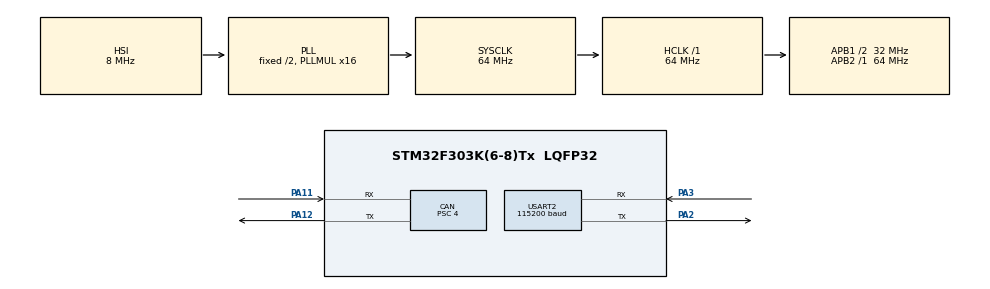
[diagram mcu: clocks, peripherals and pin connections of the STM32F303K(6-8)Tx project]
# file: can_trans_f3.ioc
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CAN.BS1=CAN_BS1_6TQ
CAN.BS2=CAN_BS2_1TQ
CAN.CalculateBaudRate=1000000
CAN.CalculateTimeBit=1000
CAN.CalculateTimeQuantum=125.0
CAN.Prescaler=4
CAN.TXFP=ENABLE
Mcu.Family=STM32F3
Mcu.Name=STM32F303K(6-8)Tx
Mcu.Package=LQFP32
NVIC.CAN_RX0_IRQn=true\:0\:0\:false\:false\:true\:true\:true\:true
NVIC.CAN_RX1_IRQn=true\:0\:0\:false\:false\:true\:true\:true\:true
NVIC.CAN_TX_IRQn=true\:0\:0\:false\:false\:true\:true\:true\:true
NVIC.PriorityGroup=NVIC_PRIORITYGROUP_4
PA11.Mode=CAN_Activate
PA11.Signal=CAN_RX
PA12.Mode=CAN_Activate
PA12.Signal=CAN_TX
PA2.Mode=Asynchronous
PA2.Signal=USART2_TX
PA3.Mode=Asynchronous
PA3.Signal=USART2_RX
ProjectManager.HeapSize=0x200
ProjectManager.StackSize=0x400
ProjectManager.TargetToolchain=STM32CubeIDE
RCC.AHBFreq_Value=64000000
RCC.APB1CLKDivider=RCC_HCLK_DIV2
RCC.APB1Freq_Value=32000000
RCC.APB1TimFreq_Value=64000000
RCC.APB2Freq_Value=64000000
RCC.APB2TimFreq_Value=64000000
RCC.CortexFreq_Value=64000000
RCC.HCLKFreq_Value=64000000
RCC.HSE_VALUE=8000000
RCC.HSI_VALUE=8000000
RCC.PLLMUL=RCC_PLL_MUL16
RCC.SYSCLKFreq_VALUE=64000000
RCC.SYSCLKSourceVirtual=RCC_SYSCLKSOURCE_PLLCLK
USART2.BaudRate=115200
USART2.VirtualMode-Asynchronous=VM_ASYNC
board=custom

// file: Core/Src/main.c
/* USER CODE BEGIN Header */
/**
  ******************************************************************************
  * @file           : main.c
  * @brief          : Main program body
  ******************************************************************************
  * @attention
  *
  * Copyright (c) 2024 STMicroelectronics.
  * All rights reserved.
  *
  * This software is licensed under terms that can be found in the LICENSE file
  * in the root directory of this software component.
  * If no LICENSE file comes with this software, it is provided AS-IS.
  *
  ******************************************************************************
  */
/* USER CODE END Header */
#include "main.h"

/* USER CODE BEGIN Includes */
#include "stdio.h"
/* USER CODE END Includes */

CAN_HandleTypeDef hcan;

UART_HandleTypeDef huart2;

void SystemClock_Config(void);
static void MX_GPIO_Init(void);
static void MX_CAN_Init(void);
static void MX_USART2_UART_Init(void);

/* USER CODE BEGIN 0 */
#ifdef __GNUC__
#define PUTCHAR_PROTOTYPE int __io_putchar(uint8_t ch)
#else
#define PUTCHAR_PROTOTYPE int fputc(int ch, FILE *f)
#endif /* __GNUC__ */

PUTCHAR_PROTOTYPE {
    HAL_UART_Transmit(&huart2, &ch, 1, 500);
    return ch;
}
/* USER CODE END 0 */

int main(void)
{

  /* MCU Configuration--------------------------------------------------------*/

  /* Reset of all peripherals, Initializes the Flash interface and the Systick. */
  HAL_Init();

  /* Configure the system clock */
  SystemClock_Config();

  /* Initialize all configured peripherals */
  MX_GPIO_Init();
  MX_CAN_Init();
  MX_USART2_UART_Init();
  /* USER CODE BEGIN 2 */
  CAN_FilterTypeDef filter;
      filter.FilterIdHigh         = 0;                        // フィルターID(上位16ビット)
      filter.FilterIdLow          = 0;                        // フィルターID(下位16ビット)
      filter.FilterMaskIdHigh     = 0;                        // フィルターマスク(上位16ビット)
      filter.FilterMaskIdLow      = 0;                        // フィルターマスク(下位16ビット)
      filter.FilterScale          = CAN_FILTERSCALE_32BIT;    // フィルタースケール
      filter.FilterFIFOAssignment = CAN_FILTER_FIFO0;         // フィルターに割り当てるFIFO
      filter.FilterBank           = 0;                        // フィルターバンクNo
      filter.FilterMode           = CAN_FILTERMODE_IDMASK;    // フィルターモード
      filter.SlaveStartFilterBank = 14;                       // スレーブCANの開始フィルターバンクNo
      filter.FilterActivation     = ENABLE;                   // フィルター無効／有効
      HAL_CAN_ConfigFilter(&hcan, &filter);

  if (HAL_CAN_ConfigFilter(&hcan, &filter) != HAL_OK)
	  {
		  /* Filter configuration Error */
	  printf("Filter Config Error\r\n");
		  Error_Handler();
	  }

  if (HAL_CAN_Start(&hcan) != HAL_OK)
      {
          /* Start Error */
          printf("Start Error\r\n");
          Error_Handler();
      }

  printf("hello from trasmitter\r\n");
  /* USER CODE END 2 */

  /* Infinite loop */
  while (1)
  {
	  CAN_TxHeaderTypeDef TxHeader;
	  uint32_t TxMailbox;
	  uint8_t TxData[8];
	  if(0 < HAL_CAN_GetTxMailboxesFreeLevel(&hcan)){
	      TxHeader.StdId = 0x555;                 // CAN ID
	      TxHeader.RTR = CAN_RTR_DATA;            // フレームタイプはデータフレーム
	      TxHeader.IDE = CAN_ID_STD;              // 標準ID(11ﾋﾞｯﾄ)
	      TxHeader.DLC = 8;                       // データ長は8バイトに
	      TxHeader.TransmitGlobalTime = DISABLE;  // ???
	      TxData[0] = 0x11;
	      TxData[1] = 0x22;
	      TxData[2] = 0x33;
	      TxData[3] = 0x44;
	      TxData[4] = 0x55;
	      TxData[5] = 0x66;
	      TxData[6] = 0x77;
	      TxData[7] = 0x88;

	      if (HAL_CAN_AddTxMessage(&hcan, &TxHeader, TxData, &TxMailbox) != HAL_OK)
	            {
	                /* Start Error */
	                printf("Error, fail to send message\r\n");
	                Error_Handler();
	            }

	      printf("send can message\r\n");
	  }

	  HAL_Delay(1000);
  }
}

void SystemClock_Config(void)
{
  RCC_OscInitTypeDef RCC_OscInitStruct = {0};
  RCC_ClkInitTypeDef RCC_ClkInitStruct = {0};

  /** Initializes the RCC Oscillators according to the specified parameters
  * in the RCC_OscInitTypeDef structure.
  */
  RCC_OscInitStruct.OscillatorType = RCC_OSCILLATORTYPE_HSI;
  RCC_OscInitStruct.HSIState = RCC_HSI_ON;
  RCC_OscInitStruct.HSICalibrationValue = RCC_HSICALIBRATION_DEFAULT;
  RCC_OscInitStruct.PLL.PLLState = RCC_PLL_ON;
  RCC_OscInitStruct.PLL.PLLSource = RCC_PLLSOURCE_HSI;
  RCC_OscInitStruct.PLL.PLLMUL = RCC_PLL_MUL16;
  if (HAL_RCC_OscConfig(&RCC_OscInitStruct) != HAL_OK)
  {
    Error_Handler();
  }

  /** Initializes the CPU, AHB and APB buses clocks
  */
  RCC_ClkInitStruct.ClockType = RCC_CLOCKTYPE_HCLK|RCC_CLOCKTYPE_SYSCLK
                              |RCC_CLOCKTYPE_PCLK1|RCC_CLOCKTYPE_PCLK2;
  RCC_ClkInitStruct.SYSCLKSource = RCC_SYSCLKSOURCE_PLLCLK;
  RCC_ClkInitStruct.AHBCLKDivider = RCC_SYSCLK_DIV1;
  RCC_ClkInitStruct.APB1CLKDivider = RCC_HCLK_DIV2;
  RCC_ClkInitStruct.APB2CLKDivider = RCC_HCLK_DIV1;

  if (HAL_RCC_ClockConfig(&RCC_ClkInitStruct, FLASH_LATENCY_2) != HAL_OK)
  {
    Error_Handler();
  }
}

static void MX_CAN_Init(void)
{

  hcan.Instance = CAN;
  hcan.Init.Prescaler = 4;
  hcan.Init.Mode = CAN_MODE_NORMAL;
  hcan.Init.SyncJumpWidth = CAN_SJW_1TQ;
  hcan.Init.TimeSeg1 = CAN_BS1_6TQ;
  hcan.Init.TimeSeg2 = CAN_BS2_1TQ;
  hcan.Init.TimeTriggeredMode = DISABLE;
  hcan.Init.AutoBusOff = DISABLE;
  hcan.Init.AutoWakeUp = DISABLE;
  hcan.Init.AutoRetransmission = DISABLE;
  hcan.Init.ReceiveFifoLocked = DISABLE;
  hcan.Init.TransmitFifoPriority = ENABLE;
  if (HAL_CAN_Init(&hcan) != HAL_OK)
  {
    Error_Handler();
  }

}

static void MX_USART2_UART_Init(void)
{

  huart2.Instance = USART2;
  huart2.Init.BaudRate = 115200;
  huart2.Init.WordLength = UART_WORDLENGTH_8B;
  huart2.Init.StopBits = UART_STOPBITS_1;
  huart2.Init.Parity = UART_PARITY_NONE;
  huart2.Init.Mode = UART_MODE_TX_RX;
  huart2.Init.HwFlowCtl = UART_HWCONTROL_NONE;
  huart2.Init.OverSampling = UART_OVERSAMPLING_16;
  huart2.Init.OneBitSampling = UART_ONE_BIT_SAMPLE_DISABLE;
  huart2.AdvancedInit.AdvFeatureInit = UART_ADVFEATURE_NO_INIT;
  if (HAL_UART_Init(&huart2) != HAL_OK)
  {
    Error_Handler();
  }

}

static void MX_GPIO_Init(void)
{

  /* GPIO Ports Clock Enable */
  __HAL_RCC_GPIOA_CLK_ENABLE();

}

void Error_Handler(void)
{
  __disable_irq();
  while (1)
  {
  }
}
